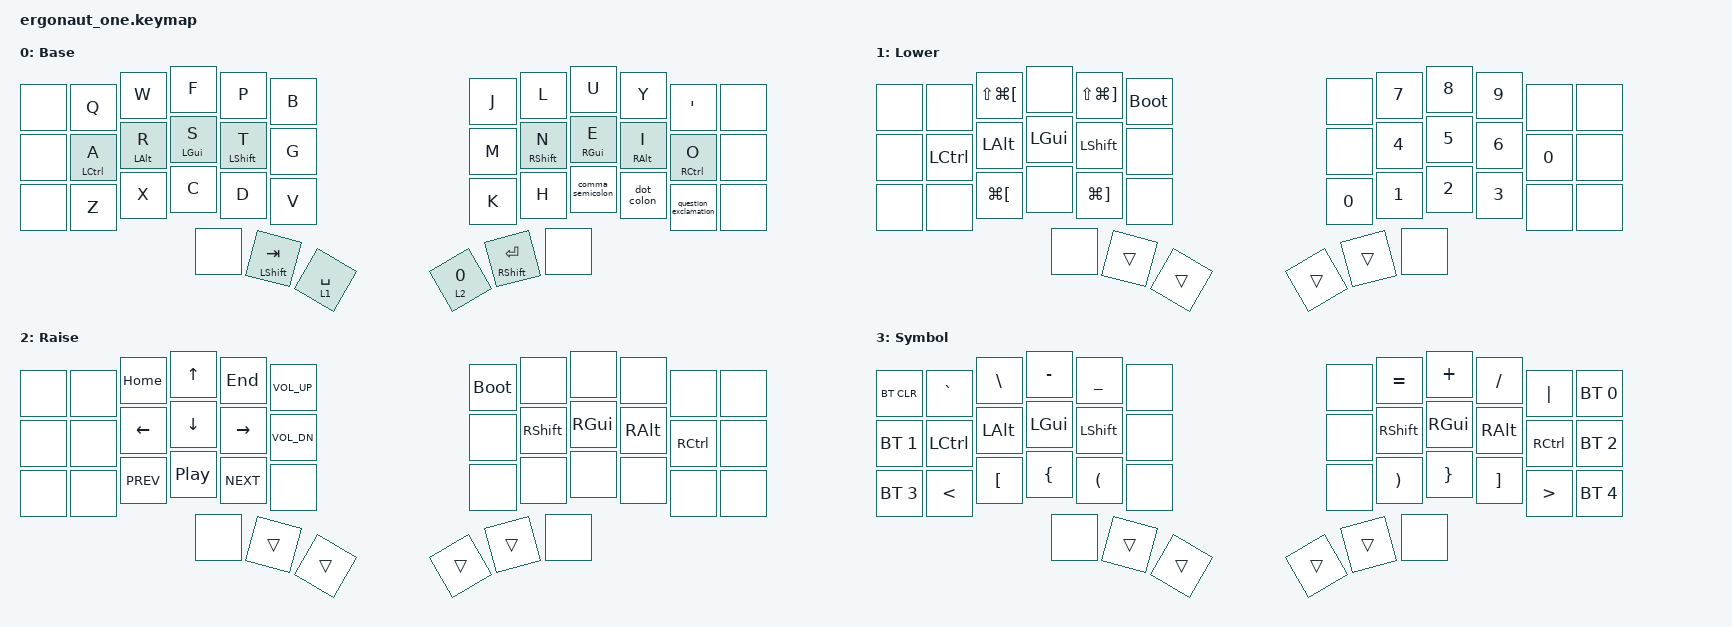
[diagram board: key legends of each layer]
#include <behaviors.dtsi>
#include <dt-bindings/zmk/bt.h>
#include <dt-bindings/zmk/keys.h>

#include "zmk-helpers/helper.h"

/*
 * Oldman on the Ergonaut One
 *
 * The Ergonaut's 3x5 core and six thumb positions are a direct physical match
 * for the Oldman. Its six extra outer-column keys stay unused on the typing
 * layers and become Bluetooth controls on the tri-layer symbol page.
 */

/ {
    conditional_layers {
        compatible = "zmk,conditional-layers";

        symbol_layer {
            if-layers = <1 2>;
            then-layer = <3>;
        };
    };

    behaviors {
        /* QMK's CHORDAL_HOLD + PERMISSIVE_HOLD + FLOW_TAP stack. */
        hml: homerow_mods_left {
            compatible = "zmk,behavior-hold-tap";
            label = "HOMEROW_MODS_LEFT";
            bindings = <&kp>, <&kp>;
            #binding-cells = <2>;
            flavor = "balanced";
            tapping-term-ms = <200>;
            quick-tap-ms = <175>;
            require-prior-idle-ms = <150>;
            hold-trigger-key-positions = <6 7 8 9 10 11 18 19 20 21 22 23 30 31 32 33 34 35 36 37 38 39 40 41>;
            hold-trigger-on-release;
        };

        hmr: homerow_mods_right {
            compatible = "zmk,behavior-hold-tap";
            label = "HOMEROW_MODS_RIGHT";
            bindings = <&kp>, <&kp>;
            #binding-cells = <2>;
            flavor = "balanced";
            tapping-term-ms = <200>;
            quick-tap-ms = <175>;
            require-prior-idle-ms = <150>;
            hold-trigger-key-positions = <0 1 2 3 4 5 12 13 14 15 16 17 24 25 26 27 28 29 36 37 38 39 40 41>;
            hold-trigger-on-release;
        };

        /* Shift is deliberately quicker and exempt from the Flow Tap analogue. */
        hml_shift: homerow_shift_left {
            compatible = "zmk,behavior-hold-tap";
            label = "HOMEROW_SHIFT_LEFT";
            bindings = <&kp>, <&kp>;
            #binding-cells = <2>;
            flavor = "balanced";
            tapping-term-ms = <150>;
            quick-tap-ms = <175>;
            hold-trigger-key-positions = <6 7 8 9 10 11 18 19 20 21 22 23 30 31 32 33 34 35 36 37 38 39 40 41>;
            hold-trigger-on-release;
        };

        hmr_shift: homerow_shift_right {
            compatible = "zmk,behavior-hold-tap";
            label = "HOMEROW_SHIFT_RIGHT";
            bindings = <&kp>, <&kp>;
            #binding-cells = <2>;
            flavor = "balanced";
            tapping-term-ms = <150>;
            quick-tap-ms = <175>;
            hold-trigger-key-positions = <0 1 2 3 4 5 12 13 14 15 16 17 24 25 26 27 28 29 36 37 38 39 40 41>;
            hold-trigger-on-release;
        };

        comma_semicolon: comma_semicolon {
            compatible = "zmk,behavior-mod-morph";
            #binding-cells = <0>;
            mods = <(MOD_LSFT|MOD_RSFT)>;
            bindings = <&kp COMMA>, <&kp SEMICOLON>;
        };

        dot_colon: dot_colon {
            compatible = "zmk,behavior-mod-morph";
            #binding-cells = <0>;
            mods = <(MOD_LSFT|MOD_RSFT)>;
            bindings = <&kp DOT>, <&kp COLON>;
        };

        question_exclamation: question_exclamation {
            compatible = "zmk,behavior-mod-morph";
            #binding-cells = <0>;
            mods = <(MOD_LSFT|MOD_RSFT)>;
            bindings = <&kp QUESTION>, <&kp EXCLAMATION>;
        };

        backspace_delete: backspace_delete {
            compatible = "zmk,behavior-mod-morph";
            #binding-cells = <0>;
            mods = <(MOD_LSFT|MOD_RSFT)>;
            bindings = <&kp BSPC>, <&kp DEL>;
        };
    };

    combos {
        compatible = "zmk,combos";

        caps_word {
            bindings = <&caps_word>;
            key-positions = <37 40>;
            layers = <0>;
            timeout-ms = <60>;
        };

        escape {
            bindings = <&kp ESC>;
            key-positions = <2 3>;
            layers = <0>;
            timeout-ms = <60>;
        };

        tab {
            bindings = <&kp TAB>;
            key-positions = <8 9>;
            layers = <0>;
            timeout-ms = <60>;
        };
    };

    keymap {
        compatible = "zmk,keymap";

        base {
            bindings = <
&none  &kp Q              &kp W            &kp F             &kp P                   &kp B  &kp J  &kp L                    &kp U                 &kp Y                &kp SQT             &none
&none  &hml LCTRL A       &hml LALT R      &hml LGUI S       &hml_shift LSHIFT T     &kp G  &kp M  &hmr_shift RSHIFT N     &hmr RGUI E           &hmr RALT I          &hmr RCTRL O         &none
&none  &kp Z              &kp X            &kp C             &kp D                   &kp V  &kp K  &kp H                    &comma_semicolon      &dot_colon           &question_exclamation &none
                                      &none  &mt LSHIFT TAB  &lt 1 SPACE  &lt_bspc 2 0  &mt RSHIFT ENTER  &none
            >;
            label = "Base";
        };

        lower {
            bindings = <
&none  &none              &kp LS(LG(LBKT))  &none             &kp LS(LG(RBKT))  &bootloader  &none  &kp N7  &kp N8  &kp N9  &none  &none
&none  &kp LCTRL          &kp LALT          &kp LGUI           &kp LSHIFT         &none  &none  &kp N4  &kp N5  &kp N6  &kp N0  &none
&none  &none              &kp LG(LBKT)      &none             &kp LG(RBKT)      &none  &kp N0  &kp N1  &kp N2  &kp N3  &none  &none
                                      &none  &trans             &trans            &trans  &trans            &none
            >;
            label = "Lower";
        };

        raise {
            bindings = <
&none  &none       &kp HOME        &kp UP           &kp END          &kp C_VOL_UP    &bootloader  &none  &none          &none          &none          &none
&none  &none       &kp LEFT        &kp DOWN         &kp RIGHT        &kp C_VOL_DN    &none  &kp RSHIFT      &kp RGUI       &kp RALT       &kp RCTRL      &none
&none  &none       &kp C_PREV      &kp C_PLAY_PAUSE &kp C_NEXT       &none           &none  &none           &none          &none          &none          &none
                                      &none  &trans             &trans           &trans  &trans           &none
            >;
            label = "Raise";
        };

        symbol {
            bindings = <
&bt BT_CLR    &kp GRAVE            &kp BSLH            &kp MINUS            &kp UNDERSCORE          &none  &none  &kp EQUAL              &kp PLUS              &kp SLASH             &kp PIPE              &bt BT_SEL 0
&bt BT_SEL 1  &kp LCTRL            &kp LALT            &kp LGUI             &kp LSHIFT             &none  &none  &kp RSHIFT             &kp RGUI              &kp RALT              &kp RCTRL             &bt BT_SEL 2
&bt BT_SEL 3  &kp LESS_THAN        &kp LEFT_BRACKET    &kp LEFT_BRACE       &kp LEFT_PARENTHESIS   &none  &none  &kp RIGHT_PARENTHESIS  &kp RIGHT_BRACE       &kp RIGHT_BRACKET     &kp GREATER_THAN      &bt BT_SEL 4
                                           &none             &trans               &trans                &trans                &trans                 &none
            >;
            label = "Symbol";
        };
    };
};

/* Oldman's quick Shift thumb keys, and its balanced layer-taps. */
&mt {
    flavor = "balanced";
    tapping-term-ms = <150>;
    quick-tap-ms = <175>;
};

&lt {
    flavor = "balanced";
    tapping-term-ms = <200>;
    quick-tap-ms = <175>;
};

ZMK_HOLD_TAP(lt_bspc, bindings = <&mo>, <&backspace_delete>;
             flavor = "balanced"; tapping-term-ms = <200>; quick-tap-ms = <175>;)
